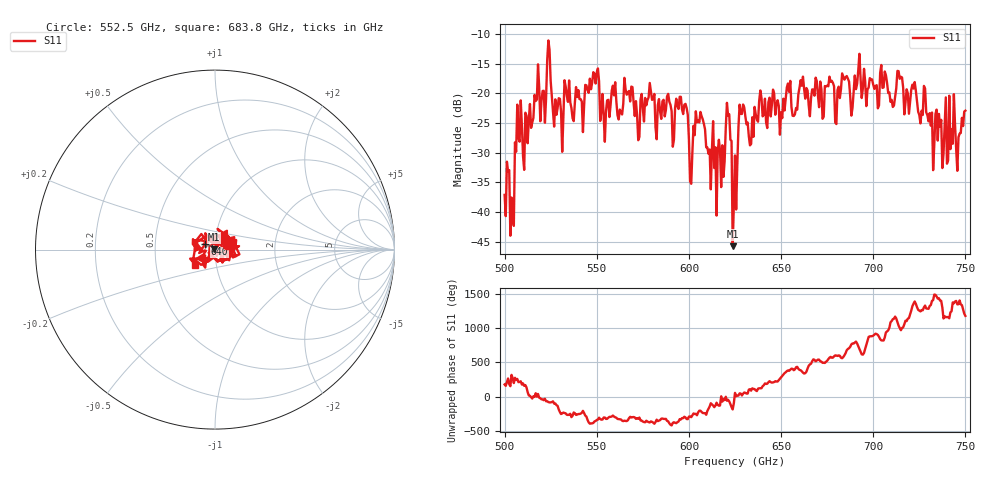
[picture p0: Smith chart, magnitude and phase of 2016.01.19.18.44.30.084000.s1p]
!Created with skrf (http://scikit-rf.org).
# GHz S RI R 50.0
!freq ReS11 ImS11
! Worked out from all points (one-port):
!   401 points, 500 GHz to 750 GHz, reference 50 ohm
!   lowest |S11| = -45.8 dB at 623.8 GHz (marker M1), VSWR 1.01, Z = 49.5 + j0.0725 ohm
!   |S11| at or under -10 dB: start of sweep to end of sweep
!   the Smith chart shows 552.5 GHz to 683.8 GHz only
!   S11 on the Smith chart (normalised r, x): 552.5 GHz: 1.14, +0.06; 640 GHz: 0.89, +0.05; 683.8 GHz: 0.79, -0.14
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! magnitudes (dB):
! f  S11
! 500 GHz  -37.1
! 503.8 GHz  -37.6
! 508.1 GHz  -28.1
! 511.2 GHz  -23.2
! 523.8 GHz  -11.1
! 526.9 GHz  -25.6
! 531.2 GHz  -29.8
! 549.4 GHz  -18.3
! 552.5 GHz  -23.0
! 562.5 GHz  -22.7
! 593.8 GHz  -22.1
! 598.1 GHz  -21.8
! 601.2 GHz  -35.2
! 606.2 GHz  -23.1
! 616.2 GHz  -27.8
! 621.2 GHz  -23.7
! 623.8 GHz  -45.8
! 625 GHz  -30.5
! 628.8 GHz  -23.5
! 633.8 GHz  -28.5
! 640 GHz  -23.9
! 656.2 GHz  -23.8
! 683.8 GHz  -17.2
! 687.5 GHz  -20.4
! 714.4 GHz  -17.5
! 718.8 GHz  -20.0
! 738.8 GHz  -25.3
! 750 GHz  -22.9
